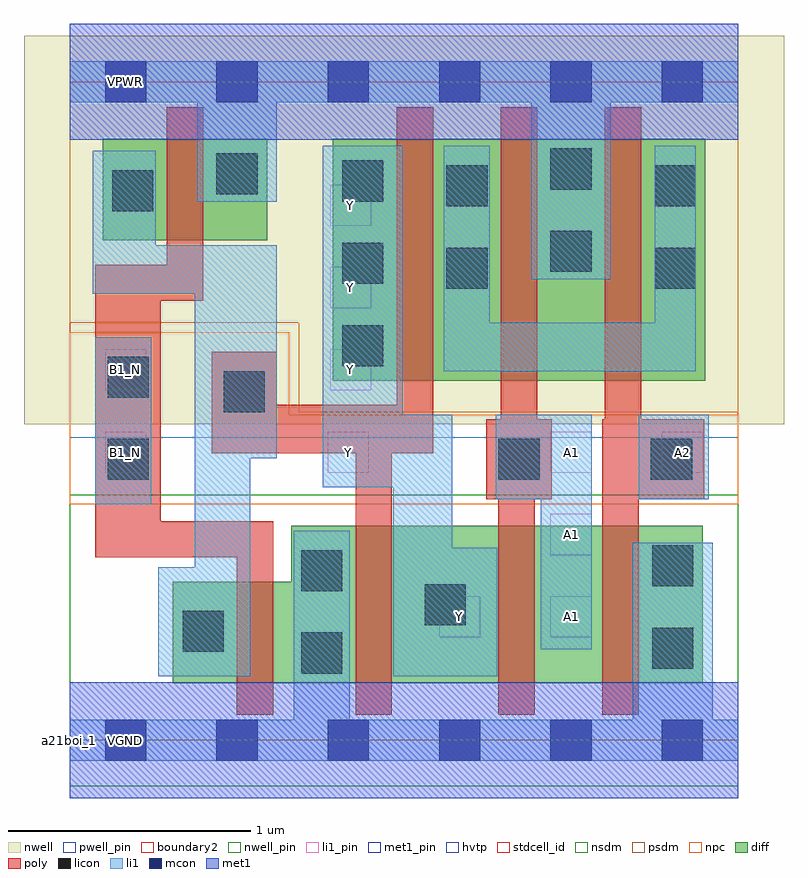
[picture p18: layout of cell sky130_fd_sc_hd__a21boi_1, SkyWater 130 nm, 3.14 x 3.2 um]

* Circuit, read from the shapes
.subckt sky130_fd_sc_hd__a21boi_1 A1 A2 B1_N VGND VNB VPB VPWR Y
XM1 VGND B1_N n1 VNB sky130_fd_pr__nfet_01v8 w=0.42 l=0.15
XM2 Y n1 VGND VNB sky130_fd_pr__nfet_01v8 w=0.65 l=0.15
XM3 n2 A1 Y VNB sky130_fd_pr__nfet_01v8 w=0.65 l=0.15
XM4 VGND A2 n2 VNB sky130_fd_pr__nfet_01v8 w=0.65 l=0.15
XM5 VPWR B1_N n1 VPB sky130_fd_pr__pfet_01v8_hvt w=0.42 l=0.15
XM6 n3 n1 Y VPB sky130_fd_pr__pfet_01v8_hvt w=1 l=0.15
XM7 VPWR A1 n3 VPB sky130_fd_pr__pfet_01v8_hvt w=1 l=0.15
XM8 n3 A2 VPWR VPB sky130_fd_pr__pfet_01v8_hvt w=1 l=0.15
.ends

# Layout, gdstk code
import gdstk
lib = gdstk.Library(unit=1e-6, precision=1e-09)
def R(c, l, rs):  # rectangles x0, y0, x1, y1
    for r in rs: c.add(gdstk.rectangle(r[:2], r[2:], *l))
def A(c, l, x, y, w, h, nx, ny, dx, dy):  # array of equal rectangles
    R(c, l, [(x+i*dx, y+j*dy, x+i*dx+w, y+j*dy+h) for i in range(nx) for j in range(ny)])
def P(c, l, *ps):  # polygons
    for p in ps: c.add(gdstk.Polygon(p, *l))
nwell_pin = (64, 16)
nwell = (64, 20)
diff = (65, 20)
poly = (66, 20)
licon = (66, 44)
li1_pin = (67, 16)
li1 = (67, 20)
mcon = (67, 44)
met1_pin = (68, 16)
met1 = (68, 20)
hvtp = (78, 44)
stdcell_id = (81, 4)
nsdm = (93, 44)
psdm = (94, 20)
npc = (95, 20)
pwell_pin = (122, 16)
boundary2 = (236, 0)

sky130_fd_sc_hd__a21boi_ = lib.new_cell('sky130_fd_sc_hd__a21boi_1')
R(sky130_fd_sc_hd__a21boi_, nwell_pin, [(0.145,2.635,0.315,2.805)])
R(sky130_fd_sc_hd__a21boi_, nwell, [(-0.19,1.305,2.95,2.91)])
R(sky130_fd_sc_hd__a21boi_, diff, [(1.085,1.485,2.625,2.485), (0.135,2.065,0.815,2.485)])
P(sky130_fd_sc_hd__a21boi_, diff, [(2.615,0.885),(0.915,0.885),(0.915,0.655),(0.425,0.655),(0.425,0.235),(2.615,0.235)])
P(sky130_fd_sc_hd__a21boi_, poly, [(0.84,0.905),(0.375,0.905),(0.375,1.815),(0.55,1.815),(0.55,2.615),(0.4,2.615),(0.4,1.965),(0.105,1.965),(0.105,0.755),(0.69,0.755),(0.69,0.105),(0.84,0.105)],
  [(1.5,2.615),(1.35,2.615),(1.35,1.385),(0.855,1.385),(0.855,1.605),(0.585,1.605),(0.585,1.185),(1.18,1.185),(1.18,0.105),(1.33,0.105),(1.33,1.185),(1.5,1.185)],
  [(1.99,1.325),(1.93,1.325),(1.93,2.615),(1.78,2.615),(1.78,1.325),(1.72,1.325),(1.72,0.995),(1.77,0.995),(1.77,0.105),(1.92,0.105),(1.92,0.995),(1.99,0.995)],
  [(2.62,1.325),(2.36,1.325),(2.36,2.615),(2.21,2.615),(2.21,1.325),(2.2,1.325),(2.2,0.105),(2.35,0.105),(2.35,0.995),(2.62,0.995)])
A(sky130_fd_sc_hd__a21boi_, licon, 1.125, 1.545, 0.17, 0.17, 1, 3, 0, 0.34)
R(sky130_fd_sc_hd__a21boi_, licon, [(0.955,0.275,1.125,0.445), (2.405,0.295,2.575,0.465), (0.465,0.365,0.635,0.535), (1.465,0.475,1.635,0.645), (0.955,0.615,1.125,0.785), (2.405,0.635,2.575,0.805), (0.155,1.075,0.325,1.245), (1.77,1.075,1.94,1.245), (2.4,1.075,2.57,1.245), (0.635,1.355,0.805,1.525), (0.155,1.415,0.325,1.585), (1.555,1.865,1.725,2.035), (2.415,1.865,2.585,2.035), (1.985,1.935,2.155,2.105), (0.175,2.185,0.345,2.355), (1.555,2.205,1.725,2.375), (2.415,2.205,2.585,2.375), (0.605,2.255,0.775,2.425), (1.985,2.275,2.155,2.445)])
A(sky130_fd_sc_hd__a21boi_, li1_pin, 0.145, 1.105, 0.17, 0.17, 3, 1, 0.92, 0)
A(sky130_fd_sc_hd__a21boi_, li1_pin, 1.075, 1.445, 0.17, 0.17, 1, 3, 0, 0.34)
R(sky130_fd_sc_hd__a21boi_, li1_pin, [(1.525,0.425,1.695,0.595), (1.985,0.425,2.155,0.595), (1.985,0.765,2.155,0.935), (2.445,1.105,2.615,1.275), (0.145,1.445,0.315,1.615)])
R(sky130_fd_sc_hd__a21boi_, li1, [(0.105,0.975,0.335,1.665), (2.35,0.995,2.64,1.345)])
P(sky130_fd_sc_hd__a21boi_, li1, [(0.855,2.045),(0.355,2.045),(0.355,2.435),(0.095,2.435),(0.095,1.845),(0.515,1.845),(0.515,0.715),(0.365,0.715),(0.365,0.265),(0.745,0.265),(0.745,1.165),(0.855,1.165)],
  [(1.765,0.795),(1.58,0.795),(1.58,1.345),(1.375,1.345),(1.375,2.455),(1.045,2.455),(1.045,1.045),(1.335,1.045),(1.335,0.265),(1.765,0.265)],
  [(2.155,1.345),(1.76,1.345),(1.76,0.995),(1.945,0.995),(1.945,0.375),(2.155,0.375)],
  [(2.76,2.805),(0,2.805),(0,2.635),(0.525,2.635),(0.525,2.225),(0.855,2.225),(0.855,2.635),(1.905,2.635),(1.905,1.905),(2.235,1.905),(2.235,2.635),(2.76,2.635)],
  [(2.585,2.455),(2.415,2.455),(2.415,1.725),(1.735,1.725),(1.735,2.455),(1.545,2.455),(1.545,1.525),(2.585,1.525)],
  [(2.76,0.085),(2.655,0.085),(2.655,0.815),(2.325,0.815),(2.325,0.085),(1.155,0.085),(1.155,0.865),(0.925,0.865),(0.925,0.085),(0,0.085),(0,-0.085),(2.76,-0.085)])
A(sky130_fd_sc_hd__a21boi_, mcon, 0.145, -0.085, 0.17, 0.17, 6, 2, 0.46, 2.72)
R(sky130_fd_sc_hd__a21boi_, met1_pin, [(0.145,-0.085,0.315,0.085), (0.145,2.635,0.315,2.805)])
R(sky130_fd_sc_hd__a21boi_, hvtp, [(0,1.25,2.76,2.72)])
R(sky130_fd_sc_hd__a21boi_, stdcell_id, [(0,0,2.76,2.72)])
R(sky130_fd_sc_hd__a21boi_, nsdm, [(0,-0.19,2.76,1.015)])
P(sky130_fd_sc_hd__a21boi_, psdm, [(2.76,2.91),(0,2.91),(0,1.725),(0.945,1.725),(0.945,1.355),(2.76,1.355)])
P(sky130_fd_sc_hd__a21boi_, npc, [(2.76,1.345),(0.905,1.345),(0.905,1.685),(0,1.685),(0,0.975),(2.76,0.975)])
R(sky130_fd_sc_hd__a21boi_, pwell_pin, [(0.145,-0.085,0.315,0.085)])
R(sky130_fd_sc_hd__a21boi_, boundary2, [(0,0,2.76,2.72)])
sky130_fd_sc_hd__a21boi_.add(gdstk.FlexPath([(0,2.72),(2.76,2.72)], 0.48, ends="flush", simple_path=True, layer=68, datatype=20))  # met1
sky130_fd_sc_hd__a21boi_.add(gdstk.FlexPath([(0,0),(2.76,0)], 0.48, ends="flush", simple_path=True, layer=68, datatype=20))  # met1
sky130_fd_sc_hd__a21boi_.add(gdstk.Label('Y', (1.61,0.51), layer=67, texttype=5))
sky130_fd_sc_hd__a21boi_.add(gdstk.Label('Y', (1.15,1.19), layer=67, texttype=5))
sky130_fd_sc_hd__a21boi_.add(gdstk.Label('A1', (2.07,1.19), layer=67, texttype=5))
sky130_fd_sc_hd__a21boi_.add(gdstk.Label('Y', (1.16,2.21), layer=67, texttype=5))
sky130_fd_sc_hd__a21boi_.add(gdstk.Label('Y', (1.16,1.53), layer=67, texttype=5))
sky130_fd_sc_hd__a21boi_.add(gdstk.Label('B1_N', (0.23,1.19), layer=67, texttype=5))
sky130_fd_sc_hd__a21boi_.add(gdstk.Label('Y', (1.16,1.87), layer=67, texttype=5))
sky130_fd_sc_hd__a21boi_.add(gdstk.Label('A1', (2.07,0.51), layer=67, texttype=5))
sky130_fd_sc_hd__a21boi_.add(gdstk.Label('A2', (2.53,1.19), layer=67, texttype=5))
sky130_fd_sc_hd__a21boi_.add(gdstk.Label('B1_N', (0.23,1.53), layer=67, texttype=5))
sky130_fd_sc_hd__a21boi_.add(gdstk.Label('A1', (2.07,0.85), layer=67, texttype=5))
sky130_fd_sc_hd__a21boi_.add(gdstk.Label('VPWR', (0.23,2.72), layer=68, texttype=5))
sky130_fd_sc_hd__a21boi_.add(gdstk.Label('VGND', (0.23,0), layer=68, texttype=5))
sky130_fd_sc_hd__a21boi_.add(gdstk.Label('VPB', (0.23,2.72), layer=64, texttype=5))
sky130_fd_sc_hd__a21boi_.add(gdstk.Label('VNB', (0.23,0), layer=64, texttype=59))
sky130_fd_sc_hd__a21boi_.add(gdstk.Label('a21boi_1', (0,0), layer=83, texttype=44))

lib.write_gds('sky130_fd_sc_hd__a21boi_1.gds')
